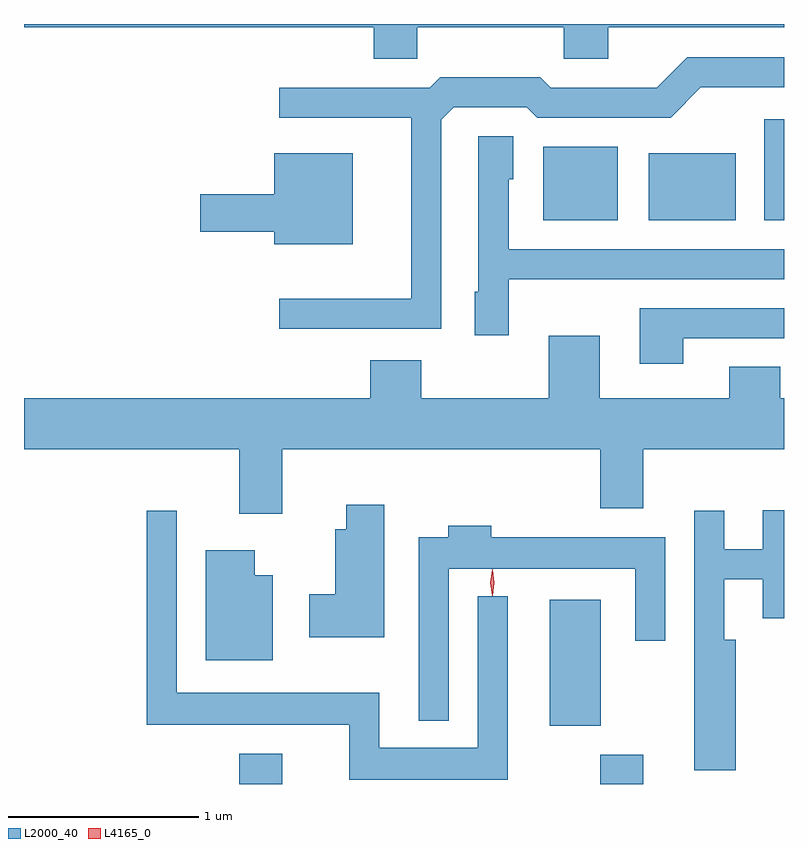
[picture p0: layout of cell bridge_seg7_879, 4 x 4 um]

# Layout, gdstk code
import gdstk
lib = gdstk.Library(unit=1e-6, precision=1e-09)
def R(c, l, rs):  # rectangles x0, y0, x1, y1
    for r in rs: c.add(gdstk.rectangle(r[:2], r[2:], *l))
def P(c, l, *ps):  # polygons
    for p in ps: c.add(gdstk.Polygon(p, *l))
L2000_40 = (2000, 40)
L4165_0 = (4165, 0)

bridge_seg7_879 = lib.new_cell('bridge_seg7_879')
R(bridge_seg7_879, L2000_40, [(480.021,1670.374,480.249,1670.534), (481.921,1670.374,482.149,1670.529), (481.656,1670.681,481.924,1671.344), (481.621,1673.341,482.014,1673.729), (482.176,1673.341,482.634,1673.694), (482.786,1673.341,482.889,1673.873)])
P(bridge_seg7_879, L2000_40, [(480.959,1674.356),(481.731,1674.356),(481.731,1674.191),(481.964,1674.191),(481.964,1674.356),(482.889,1674.356),(482.889,1674.374),(478.889,1674.374),(478.889,1674.356),(480.731,1674.356),(480.731,1674.191),(480.959,1674.191)],
  [(481.084,1673.869),(481.152,1673.936),(481.534,1673.936),(481.589,1673.881),(482.292,1673.881),(482.452,1674.041),(482.889,1674.041),(482.889,1674.199),(482.379,1674.199),(482.219,1674.039),(481.662,1674.039),(481.607,1674.094),(481.079,1674.094),(481.024,1674.039),(480.233,1674.039),(480.233,1673.881),(480.926,1673.881),(480.926,1672.929),(480.233,1672.929),(480.233,1672.771),(481.084,1672.771)],
  [(481.439,1673.031),(482.889,1673.031),(482.889,1673.189),(481.439,1673.189),(481.439,1673.556),(481.464,1673.556),(481.464,1673.784),(481.281,1673.784),(481.281,1672.964),(481.261,1672.964),(481.261,1672.736),(481.439,1672.736)],
  [(480.619,1673.694),(480.206,1673.694),(480.206,1673.479),(479.816,1673.479),(479.816,1673.281),(480.206,1673.281),(480.206,1673.216),(480.619,1673.216)],
  [(482.359,1672.721),(482.889,1672.721),(482.889,1672.879),(482.131,1672.879),(482.131,1672.586),(482.359,1672.586)],
  [(480.249,1672.136),(481.921,1672.136),(481.921,1671.826),(482.149,1671.826),(482.149,1672.136),(482.889,1672.136),(482.889,1672.404),(482.869,1672.404),(482.869,1672.569),(482.601,1672.569),(482.601,1672.404),(481.919,1672.404),(481.919,1672.734),(481.651,1672.734),(481.651,1672.404),(480.979,1672.404),(480.979,1672.604),(480.711,1672.604),(480.711,1672.404),(478.889,1672.404),(478.889,1672.136),(480.021,1672.136),(480.021,1671.796),(480.249,1671.796)],
  [(480.784,1671.844),(480.586,1671.844),(480.586,1671.714),(480.526,1671.714),(480.526,1671.374),(480.391,1671.374),(480.391,1671.146),(480.784,1671.146)],
  [(482.634,1671.134),(482.574,1671.134),(482.574,1671.451),(482.776,1671.451),(482.776,1671.246),(482.889,1671.246),(482.889,1671.814),(482.776,1671.814),(482.776,1671.609),(482.574,1671.609),(482.574,1671.813),(482.416,1671.813),(482.416,1670.446),(482.634,1670.446)],
  [(481.434,1671.363),(481.276,1671.363),(481.276,1670.564),(480.759,1670.564),(480.759,1670.854),(479.694,1670.854),(479.694,1671.813),(479.536,1671.813),(479.536,1670.686),(480.601,1670.686),(480.601,1670.396),(481.434,1670.396)],
  [(481.124,1671.506),(482.106,1671.506),(482.106,1671.128),(482.264,1671.128),(482.264,1671.674),(481.349,1671.674),(481.349,1671.734),(481.121,1671.734),(481.121,1671.674),(480.966,1671.674),(480.966,1670.708),(481.124,1670.708)],
  [(480.199,1671.474),(480.104,1671.474),(480.104,1671.604),(479.846,1671.604),(479.846,1671.026),(480.199,1671.026)])
P(bridge_seg7_879, L4165_0, [(481.354,1671.364),(481.354,1671.364),(481.344,1671.433),(481.354,1671.502),(481.354,1671.503),(481.355,1671.502),(481.364,1671.433),(481.355,1671.364)])

lib.write_gds('bridge_seg7_879.gds')
